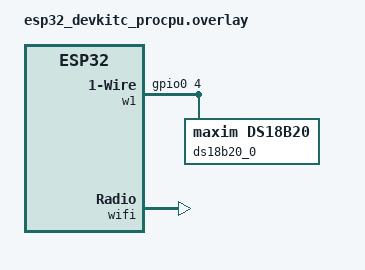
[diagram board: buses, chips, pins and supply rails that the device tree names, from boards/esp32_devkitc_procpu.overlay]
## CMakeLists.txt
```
cmake_minimum_required(VERSION 3.20.0)

find_package(Zephyr REQUIRED HINTS $ENV{ZEPHYR_BASE})
project(temperature_monitor)

target_sources(app PRIVATE
    src/network/w1_ds18b20.c
    src/network/wifi.c
    src/network/mqtt_conn.c
    src/main.c)
```

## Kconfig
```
# Copyright 2025 Christoph Jans
# SPDX-License-Identifier: Apache-2.0

mainmenu "Network Wi-Fi Configuration"



source "Kconfig.zephyr"
```

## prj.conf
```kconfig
# Logging
CONFIG_LOG=y
#CONFIG_LOG_MODE_MINIMAL=y
CONFIG_LOG_DEFAULT_LEVEL=3
CONFIG_CBPRINTF_FP_SUPPORT=y

# OneWire
CONFIG_W1=y
CONFIG_W1_NET=y
CONFIG_W1_SHELL=y
CONFIG_W1_NET_FORCE_MULTIDROP_ADDRESSING=y

# Sensors
CONFIG_SENSOR=y
CONFIG_SENSOR_SHELL=y
CONFIG_DS18B20=y

# Zbus
CONFIG_ZBUS=y
CONFIG_ZBUS_CHANNEL_NAME=y

# Networking & WiFi
CONFIG_WIFI=y

CONFIG_SHELL_STACK_SIZE=5200
CONFIG_NET_SHELL=y
CONFIG_NET_STATISTICS=y
CONFIG_NET_STATISTICS_PERIODIC_OUTPUT=n
CONFIG_NET_L2_WIFI_SHELL=y
CONFIG_NET_CONFIG_AUTO_INIT=n
CONFIG_NET_CONNECTION_MANAGER=y
CONFIG_NET_DHCPV4=y
CONFIG_NET_DHCPV4_SERVER=y
CONFIG_NET_IF_MAX_IPV4_COUNT=2
CONFIG_NET_IF_MAX_IPV6_COUNT=2
CONFIG_NET_IPV4=y
CONFIG_NET_L2_ETHERNET=y
CONFIG_NET_L2_WIFI_MGMT=y
CONFIG_NET_MGMT=y
CONFIG_NET_MGMT_EVENT=y
CONFIG_NET_MGMT_EVENT_INFO=y
CONFIG_NET_MGMT_EVENT_QUEUE_SIZE=10
CONFIG_NET_MGMT_EVENT_STACK_SIZE=4096
CONFIG_NET_MGMT_EVENT_QUEUE_TIMEOUT=5000
CONFIG_NET_PKT_RX_COUNT=16
CONFIG_NET_PKT_TX_COUNT=16
CONFIG_NET_SOCKETS_SERVICE_STACK_SIZE=4096
CONFIG_NET_TCP=y
CONFIG_NET_UDP=y
CONFIG_NETWORKING=y
CONFIG_NET_LOG=y
CONFIG_NET_DHCPV4_SERVER_LOG_LEVEL_DBG=y

# MQTT
CONFIG_MQTT_LIB=y

# General
CONFIG_REBOOT=y
```

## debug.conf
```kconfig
CONFIG_STACK_SENTINEL=y
CONFIG_DEBUG_COREDUMP=y
CONFIG_DEBUG_COREDUMP_BACKEND_LOGGING=y
CONFIG_DEBUG_COREDUMP_MEMORY_DUMP_MIN=y
```

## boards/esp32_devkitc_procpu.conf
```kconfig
CONFIG_WIFI_ESP32=y

CONFIG_WIFI_STA_AUTO_DHCPV4=y
CONFIG_ESP_WIFI_HEAP_SYSTEM=y
CONFIG_HEAP_MEM_POOL_SIZE=51200
```

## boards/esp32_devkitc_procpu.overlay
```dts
/ {
    aliases {
    };

    w1: w1 {
        compatible = "zephyr,w1-gpio";
        gpios = <&gpio0 4 (GPIO_ACTIVE_HIGH | GPIO_OPEN_DRAIN | GPIO_PULL_UP)>;

        ds18b20_0 {
            compatible = "maxim,ds18b20";
            family-code = < 0x28 >;
            resolution = < 0xc >;
            status = "okay";
        };
    };

};

&wifi {
    status = "okay";
};
```

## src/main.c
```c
/*
 * Copyright (c) 2025 Christoph Jans <jans.christoph@gmail.com>
 *
 * SPDX-License-Identifier: Apache-2.0
 */

#include <zephyr/kernel.h>
#include <zephyr/logging/log.h>

LOG_MODULE_REGISTER(main, CONFIG_LOG_DEFAULT_LEVEL);

int main(void)
{
	LOG_INF("Hello Temperature Monitor");

	return 0;
}
```
